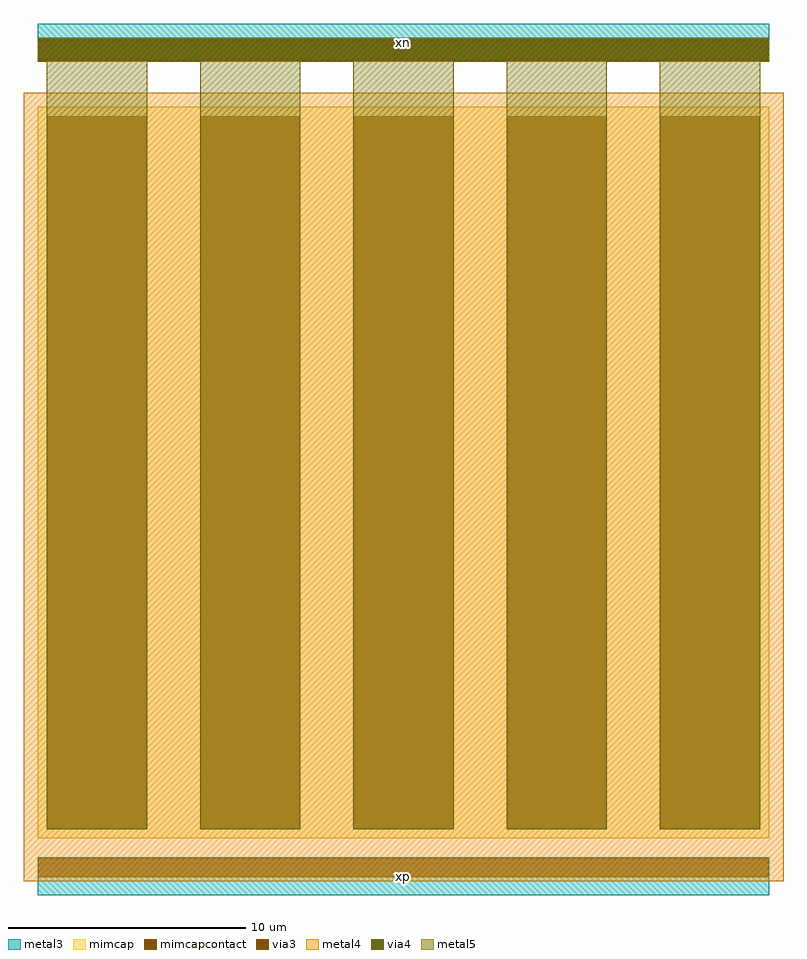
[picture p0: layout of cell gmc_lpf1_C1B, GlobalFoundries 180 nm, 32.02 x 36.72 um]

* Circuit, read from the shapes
.subckt gmc_lpf1_C1B xn xp
XC1 xn xp cap_mim_2f0fF c_width=30.82u c_length=30.82u
.ends

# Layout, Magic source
magic
tech gf180mcuD
magscale 1 10
<< metal3 >>
rect 0 -340 6164 -160
rect 0 6544 6164 6744
rect 0 6544 6164 6864
rect 0 6544 6164 6864
rect 0 -480 6164 -160
rect 0 -480 6164 -160
<< metal4 >>
rect -120 -360 6284 6284
rect 0 -340 6164 -160
rect 0 6544 6164 6744
rect 0 6544 6164 6744
<< mimcap >>
rect 0 0 6164 6164
<< metal5 >>
rect 78 78 922 6644
rect 1369 78 2213 6644
rect 2660 78 3504 6644
rect 3951 78 4795 6644
rect 5242 78 6086 6644
rect 0 6544 6164 6744
rect 0 6544 6164 6744
<< via3 >>
rect 10 -330 6154 -170
rect 10 6554 6154 6734
<< via4 >>
rect 10 6554 6154 6734
<< mimcapcontact >>
rect 78 78 922 6086
rect 1369 78 2213 6086
rect 2660 78 3504 6086
rect 3951 78 4795 6086
rect 5242 78 6086 6086
<< labels >>
flabel metal3 s 0 6544 6164 6864 0 FreeSans 80 0 0 0 xn
port 1 nsew signal bidirectional
flabel metal3 s 0 -480 6164 -160 0 FreeSans 80 0 0 0 xp
port 2 nsew signal bidirectional
<< end >>
